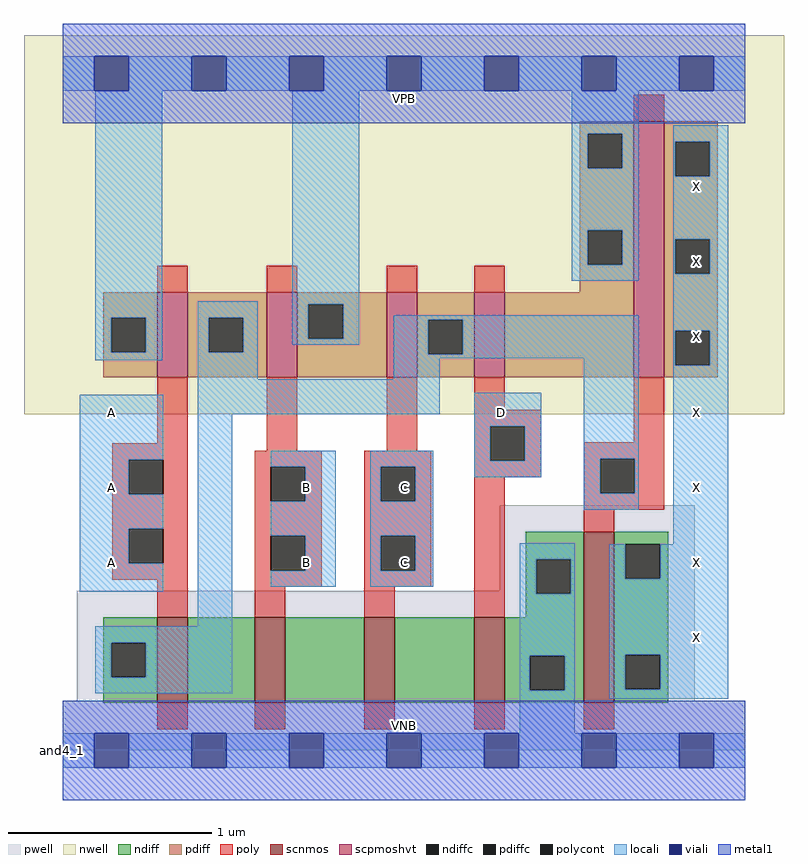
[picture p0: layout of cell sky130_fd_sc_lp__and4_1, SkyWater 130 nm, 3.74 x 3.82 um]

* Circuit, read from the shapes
.subckt sky130_fd_sc_lp__and4_1 A B C D VGND VNB VPB VPWR X
XM1 n1 A n2 VNB sky130_fd_pr__nfet_01v8 w=0.42 l=0.15
XM2 n3 B n1 VNB sky130_fd_pr__nfet_01v8 w=0.42 l=0.15
XM3 n4 C n3 VNB sky130_fd_pr__nfet_01v8 w=0.42 l=0.15
XM4 VGND D n4 VNB sky130_fd_pr__nfet_01v8 w=0.42 l=0.15
XM5 X n2 VGND VNB sky130_fd_pr__nfet_01v8 w=0.84 l=0.15
XM6 n2 A VPWR VPB sky130_fd_pr__pfet_01v8_hvt w=0.42 l=0.15
XM7 VPWR B n2 VPB sky130_fd_pr__pfet_01v8_hvt w=0.42 l=0.15
XM8 n2 C VPWR VPB sky130_fd_pr__pfet_01v8_hvt w=0.42 l=0.15
XM9 VPWR D n2 VPB sky130_fd_pr__pfet_01v8_hvt w=0.42 l=0.15
XM10 X n2 VPWR VPB sky130_fd_pr__pfet_01v8_hvt w=1.26 l=0.15
.ends

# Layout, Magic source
magic
tech sky130A
magscale 1 2
<< nwell >>
rect -38 331 710 704
<< pwell >>
rect 430 157 622 241
rect 14 49 622 157
rect 0 0 672 49
<< scnmos >>
rect 93 47 123 131
rect 189 47 219 131
rect 297 47 327 131
rect 405 47 435 131
rect 513 47 543 215
<< scpmoshvt >>
rect 93 367 123 451
rect 201 367 231 451
rect 319 367 349 451
rect 405 367 435 451
rect 562 367 592 619
<< ndiff >>
rect 456 188 513 215
rect 456 154 466 188
rect 500 154 513 188
rect 456 131 513 154
rect 40 106 93 131
rect 40 72 48 106
rect 82 72 93 106
rect 40 47 93 72
rect 123 47 189 131
rect 219 47 297 131
rect 327 47 405 131
rect 435 93 513 131
rect 435 59 460 93
rect 494 59 513 93
rect 435 47 513 59
rect 543 203 596 215
rect 543 169 554 203
rect 588 169 596 203
rect 543 94 596 169
rect 543 60 554 94
rect 588 60 596 94
rect 543 47 596 60
<< pdiff >>
rect 509 607 562 619
rect 509 573 517 607
rect 551 573 562 607
rect 509 512 562 573
rect 509 478 517 512
rect 551 478 562 512
rect 509 451 562 478
rect 40 426 93 451
rect 40 392 48 426
rect 82 392 93 426
rect 40 367 93 392
rect 123 426 201 451
rect 123 392 144 426
rect 178 392 201 426
rect 123 367 201 392
rect 231 439 319 451
rect 231 405 242 439
rect 276 405 319 439
rect 231 367 319 405
rect 349 424 405 451
rect 349 390 360 424
rect 394 390 405 424
rect 349 367 405 390
rect 435 367 562 451
rect 592 599 645 619
rect 592 565 603 599
rect 637 565 645 599
rect 592 503 645 565
rect 592 469 603 503
rect 637 469 645 503
rect 592 413 645 469
rect 592 379 603 413
rect 637 379 645 413
rect 592 367 645 379
<< ndiffc >>
rect 466 154 500 188
rect 48 72 82 106
rect 460 59 494 93
rect 554 169 588 203
rect 554 60 588 94
<< pdiffc >>
rect 517 573 551 607
rect 517 478 551 512
rect 48 392 82 426
rect 144 392 178 426
rect 242 405 276 439
rect 360 390 394 424
rect 603 565 637 599
rect 603 469 637 503
rect 603 379 637 413
<< poly >>
rect 562 619 592 645
rect 93 451 123 477
rect 201 451 231 477
rect 319 451 349 477
rect 405 451 435 477
rect 93 302 123 367
rect 49 286 123 302
rect 201 295 231 367
rect 319 295 349 367
rect 405 335 435 367
rect 405 319 471 335
rect 49 252 65 286
rect 99 252 123 286
rect 49 218 123 252
rect 49 184 65 218
rect 99 184 123 218
rect 49 168 123 184
rect 93 131 123 168
rect 189 279 255 295
rect 189 245 205 279
rect 239 245 255 279
rect 189 211 255 245
rect 189 177 205 211
rect 239 177 255 211
rect 189 161 255 177
rect 297 279 363 295
rect 297 245 313 279
rect 347 245 363 279
rect 297 211 363 245
rect 297 177 313 211
rect 347 177 363 211
rect 297 161 363 177
rect 405 285 421 319
rect 455 285 471 319
rect 562 303 592 367
rect 405 269 471 285
rect 513 287 592 303
rect 189 131 219 161
rect 297 131 327 161
rect 405 131 435 269
rect 513 253 529 287
rect 563 253 592 287
rect 513 237 592 253
rect 513 215 543 237
rect 93 21 123 47
rect 189 21 219 47
rect 297 21 327 47
rect 405 21 435 47
rect 513 21 543 47
<< polycont >>
rect 65 252 99 286
rect 65 184 99 218
rect 205 245 239 279
rect 205 177 239 211
rect 313 245 347 279
rect 313 177 347 211
rect 421 285 455 319
rect 529 253 563 287
<< locali >>
rect 0 649 31 683
rect 65 649 127 683
rect 161 649 223 683
rect 257 649 319 683
rect 353 649 415 683
rect 449 649 511 683
rect 545 649 607 683
rect 641 649 672 683
rect 32 426 98 649
rect 32 392 48 426
rect 82 392 98 426
rect 32 384 98 392
rect 133 426 192 442
rect 133 392 144 426
rect 178 392 192 426
rect 226 439 292 649
rect 501 607 567 649
rect 501 573 517 607
rect 551 573 567 607
rect 501 512 567 573
rect 501 478 517 512
rect 551 478 567 512
rect 501 462 567 478
rect 601 599 655 615
rect 601 565 603 599
rect 637 565 655 599
rect 601 503 655 565
rect 601 469 603 503
rect 637 469 655 503
rect 226 405 242 439
rect 276 405 292 439
rect 226 399 292 405
rect 326 424 567 428
rect 133 365 192 392
rect 326 390 360 424
rect 394 390 567 424
rect 326 386 567 390
rect 326 365 371 386
rect 17 286 99 350
rect 17 252 65 286
rect 17 218 99 252
rect 17 184 65 218
rect 17 156 99 184
rect 133 331 371 365
rect 133 122 167 331
rect 405 319 471 352
rect 205 279 269 295
rect 239 245 269 279
rect 205 211 269 245
rect 239 177 269 211
rect 205 161 269 177
rect 303 279 365 295
rect 303 245 313 279
rect 347 245 365 279
rect 405 285 421 319
rect 455 285 471 319
rect 405 269 471 285
rect 513 287 567 386
rect 303 211 365 245
rect 513 253 529 287
rect 563 253 567 287
rect 513 237 567 253
rect 601 413 655 469
rect 601 379 603 413
rect 637 379 655 413
rect 303 177 313 211
rect 347 177 365 211
rect 303 161 365 177
rect 450 188 504 204
rect 601 203 655 379
rect 32 106 167 122
rect 32 72 48 106
rect 82 72 167 106
rect 32 56 167 72
rect 450 154 466 188
rect 500 154 504 188
rect 450 93 504 154
rect 450 59 460 93
rect 494 59 504 93
rect 450 17 504 59
rect 538 169 554 203
rect 588 169 655 203
rect 538 94 655 169
rect 538 60 554 94
rect 588 60 655 94
rect 538 51 655 60
rect 0 -17 31 17
rect 65 -17 127 17
rect 161 -17 223 17
rect 257 -17 319 17
rect 353 -17 415 17
rect 449 -17 511 17
rect 545 -17 607 17
rect 641 -17 672 17
<< viali >>
rect 31 649 65 683
rect 127 649 161 683
rect 223 649 257 683
rect 319 649 353 683
rect 415 649 449 683
rect 511 649 545 683
rect 607 649 641 683
rect 31 -17 65 17
rect 127 -17 161 17
rect 223 -17 257 17
rect 319 -17 353 17
rect 415 -17 449 17
rect 511 -17 545 17
rect 607 -17 641 17
<< metal1 >>
rect 0 683 672 715
rect 0 649 31 683
rect 65 649 127 683
rect 161 649 223 683
rect 257 649 319 683
rect 353 649 415 683
rect 449 649 511 683
rect 545 649 607 683
rect 641 649 672 683
rect 0 617 672 649
rect 0 17 672 49
rect 0 -17 31 17
rect 65 -17 127 17
rect 161 -17 223 17
rect 257 -17 319 17
rect 353 -17 415 17
rect 449 -17 511 17
rect 545 -17 607 17
rect 641 -17 672 17
rect 0 -49 672 -17
<< labels >>
flabel pwell s 0 0 672 49 0 FreeSans 200 0 0 0 VNB
port 6 nsew ground bidirectional
flabel nwell s 0 617 672 666 0 FreeSans 200 0 0 0 VPB
port 7 nsew power bidirectional
rlabel comment s 0 0 0 0 4 and4_1
flabel metal1 s 0 617 672 666 0 FreeSans 340 0 0 0 VPWR
port 8 nsew power bidirectional
flabel metal1 s 0 0 672 49 0 FreeSans 340 0 0 0 VGND
port 5 nsew ground bidirectional
flabel locali s 31 168 65 202 0 FreeSans 340 0 0 0 A
port 1 nsew signal input
flabel locali s 31 242 65 276 0 FreeSans 340 0 0 0 A
port 1 nsew signal input
flabel locali s 31 316 65 350 0 FreeSans 340 0 0 0 A
port 1 nsew signal input
flabel locali s 223 168 257 202 0 FreeSans 340 0 0 0 B
port 2 nsew signal input
flabel locali s 223 242 257 276 0 FreeSans 340 0 0 0 B
port 2 nsew signal input
flabel locali s 319 168 353 202 0 FreeSans 340 0 0 0 C
port 3 nsew signal input
flabel locali s 319 242 353 276 0 FreeSans 340 0 0 0 C
port 3 nsew signal input
flabel locali s 607 94 641 128 0 FreeSans 340 0 0 0 X
port 9 nsew signal output
flabel locali s 607 168 641 202 0 FreeSans 340 0 0 0 X
port 9 nsew signal output
flabel locali s 607 242 641 276 0 FreeSans 340 0 0 0 X
port 9 nsew signal output
flabel locali s 607 316 641 350 0 FreeSans 340 0 0 0 X
port 9 nsew signal output
flabel locali s 607 390 641 424 0 FreeSans 340 0 0 0 X
port 9 nsew signal output
flabel locali s 607 464 641 498 0 FreeSans 340 0 0 0 X
port 9 nsew signal output
flabel locali s 607 538 641 572 0 FreeSans 340 0 0 0 X
port 9 nsew signal output
flabel locali s 415 316 449 350 0 FreeSans 340 0 0 0 D
port 4 nsew signal input
<< properties >>
string LEFsite unit
string LEFclass CORE
string FIXED_BBOX 0 0 672 666
string GDS_FILE $PDKPATH/libs.ref/sky130_fd_sc_lp/gds/sky130_fd_sc_lp.gds
string LEFsymmetry X Y R90
string GDS_END 6285728
string GDS_START 6278834
<< end >>
